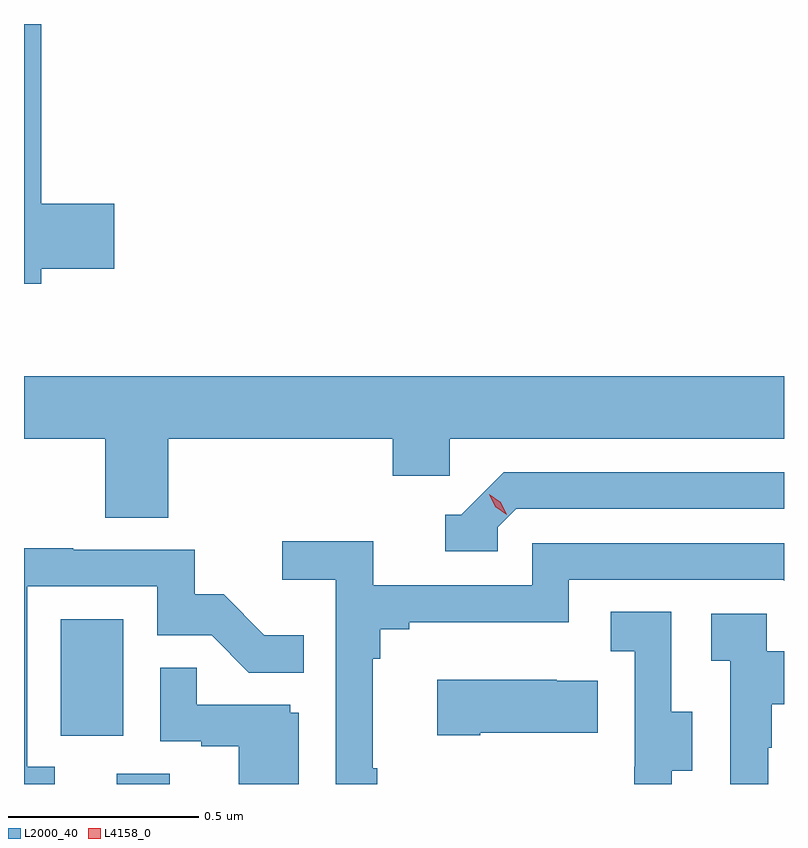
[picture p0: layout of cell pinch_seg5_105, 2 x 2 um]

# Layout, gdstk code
import gdstk
lib = gdstk.Library(unit=1e-6, precision=1e-09)
def R(c, l, rs):  # rectangles x0, y0, x1, y1
    for r in rs: c.add(gdstk.rectangle(r[:2], r[2:], *l))
def P(c, l, *ps):  # polygons
    for p in ps: c.add(gdstk.Polygon(p, *l))
L2000_40 = (2000, 40)
L4158_0 = (4158, 0)

pinch_seg5_105 = lib.new_cell('pinch_seg5_105')
R(pinch_seg5_105, L2000_40, [(1023.941,875.831,1024.081,875.858), (1023.794,875.958,1023.958,876.265)])
P(pinch_seg5_105, L2000_40, [(1023.742,877.187),(1023.934,877.187),(1023.934,877.358),(1023.742,877.358),(1023.742,877.831),(1023.697,877.831),(1023.697,877.148),(1023.742,877.148)],
  [(1024.076,876.74),(1024.667,876.74),(1024.667,876.642),(1024.818,876.642),(1024.818,876.74),(1025.697,876.74),(1025.697,876.904),(1023.697,876.904),(1023.697,876.74),(1023.911,876.74),(1023.911,876.532),(1024.076,876.532)],
  [(1024.944,876.507),(1024.992,876.555),(1025.697,876.555),(1025.697,876.651),(1024.959,876.651),(1024.848,876.54),(1024.805,876.54),(1024.805,876.444),(1024.944,876.444)],
  [(1024.627,875.873),(1024.615,875.873),(1024.615,876.161),(1024.634,876.161),(1024.634,876.238),(1024.711,876.238),(1024.711,876.257),(1025.13,876.257),(1025.13,876.369),(1025.694,876.369),(1025.697,876.366),(1025.697,876.465),(1025.034,876.465),(1025.034,876.354),(1024.616,876.354),(1024.616,876.47),(1024.377,876.47),(1024.377,876.368),(1024.518,876.368),(1024.518,875.831),(1024.627,875.831)],
  [(1023.778,875.877),(1023.705,875.877),(1023.705,876.351),(1024.047,876.351),(1024.047,876.222),(1024.191,876.222),(1024.289,876.124),(1024.433,876.124),(1024.433,876.223),(1024.329,876.223),(1024.222,876.33),(1024.146,876.33),(1024.146,876.447),(1023.827,876.447),(1023.827,876.452),(1023.697,876.452),(1023.697,875.831),(1023.778,875.831)],
  [(1025.401,875.866),(1025.455,875.866),(1025.455,876.021),(1025.4,876.021),(1025.4,876.284),(1025.241,876.284),(1025.241,876.181),(1025.304,876.181),(1025.304,875.877),(1025.303,875.877),(1025.303,875.831),(1025.401,875.831)],
  [(1025.655,875.927),(1025.665,875.927),(1025.665,876.041),(1025.697,876.041),(1025.697,876.181),(1025.652,876.181),(1025.652,876.279),(1025.505,876.279),(1025.505,876.155),(1025.556,876.155),(1025.556,875.831),(1025.655,875.831)],
  [(1024.42,876.018),(1024.398,876.018),(1024.398,876.039),(1024.151,876.039),(1024.151,876.137),(1024.056,876.137),(1024.056,875.943),(1024.163,875.943),(1024.163,875.931),(1024.262,875.931),(1024.262,875.831),(1024.42,875.831)],
  [(1024.897,875.966),(1025.207,875.966),(1025.207,876.103),(1025.099,876.103),(1025.099,876.106),(1024.785,876.106),(1024.785,875.959),(1024.897,875.959)])
P(pinch_seg5_105, L4158_0, [(1024.967,876.54),(1024.937,876.56),(1024.921,876.593),(1024.921,876.593),(1024.921,876.593),(1024.952,876.573),(1024.967,876.541),(1024.967,876.54)])

lib.write_gds('pinch_seg5_105.gds')
